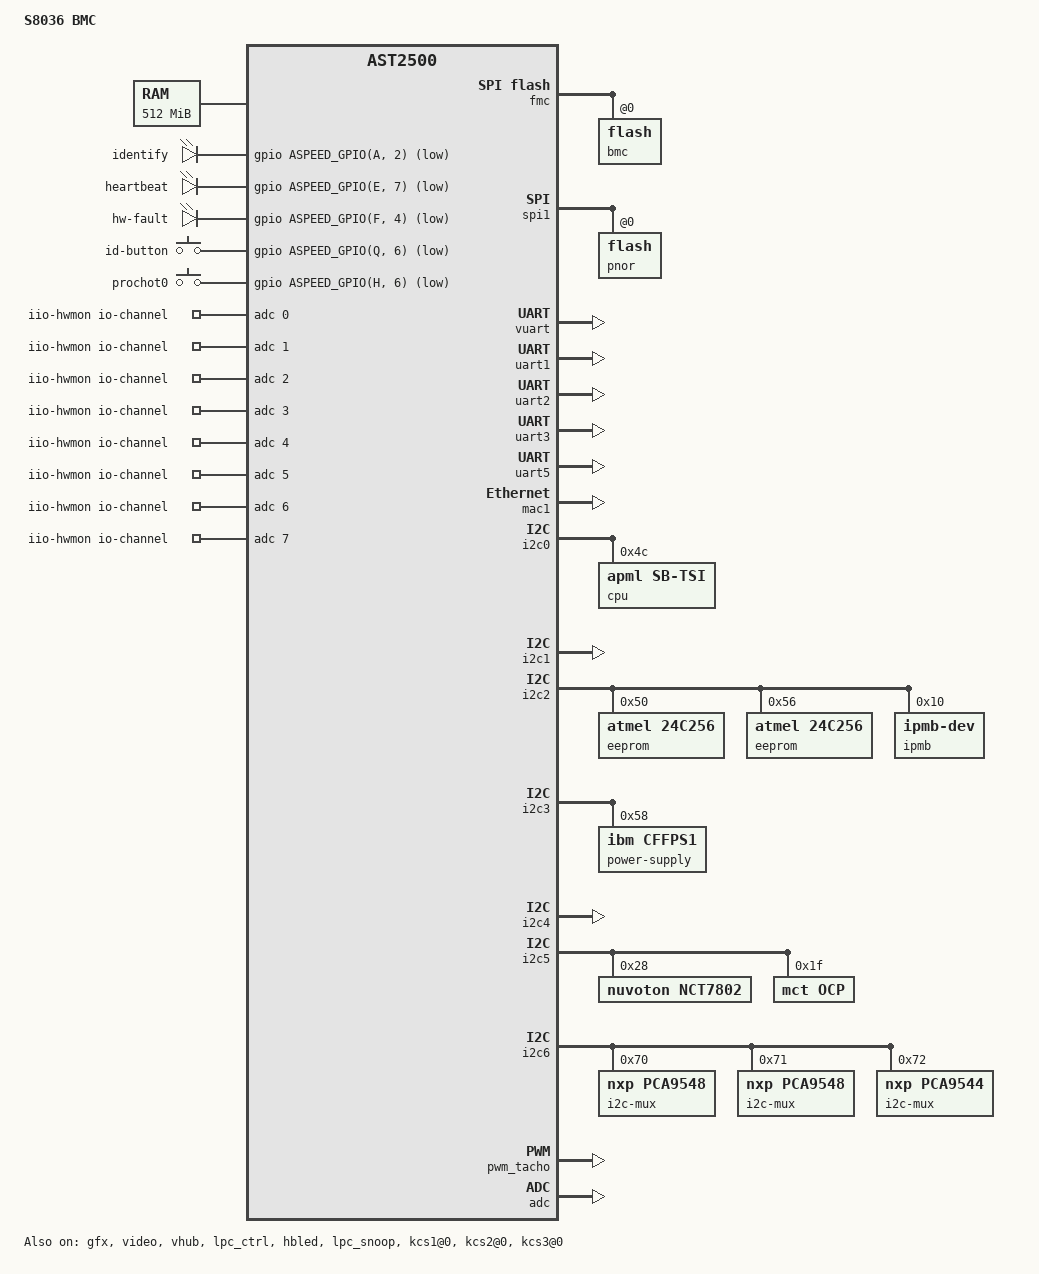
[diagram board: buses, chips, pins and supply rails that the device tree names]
// SPDX-License-Identifier: GPL-2.0
// Copyright (c) 2017 Intel Corporation
/dts-v1/;

#include "aspeed-g5.dtsi"
#include <dt-bindings/gpio/aspeed-gpio.h>

/ {
    model = "S8036 BMC";
    compatible = "mct,s8036-bmc", "aspeed,ast2500";

    chosen {
        stdout-path = &uart5;
        bootargs = "earlyprintk";
    };

    memory {
        reg = <0x80000000 0x20000000>;
    };

    reserved-memory {
        #address-cells = <1>;
        #size-cells = <1>;
        ranges;

        flash_memory: region@5c000000 {
            no-map;
            reg = <0x5c000000 0x02000000>; /* 32M */
        };

        gfx_memory: framebuffer {
                size = <0x04000000>;
                alignment = <0x01000000>;
                compatible = "shared-dma-pool";
                reusable;
        };
    };

    leds {
            compatible = "gpio-leds";

            identify {
                gpios = <&gpio ASPEED_GPIO(A, 2) GPIO_ACTIVE_LOW>;
            };

            heartbeat {
                gpios = <&gpio ASPEED_GPIO(E, 7) GPIO_ACTIVE_LOW>;
            };

            hw-fault {
                gpios = <&gpio ASPEED_GPIO(F, 4) GPIO_ACTIVE_LOW>;
            };
        };
      gpio-keys {
                   compatible = "gpio-keys";
                            id-button {
                                  label = "id-button";
                                  gpios = <&gpio ASPEED_GPIO(Q, 6) GPIO_ACTIVE_LOW>;
                                  linux,code = <ASPEED_GPIO(Q, 6)>;
                            };
                            prochot0 {
                                  label = "prochot0";
                                  gpios = <&gpio ASPEED_GPIO(H, 6) GPIO_ACTIVE_LOW>;
                                  linux,code = <ASPEED_GPIO(H, 6)>;
                            };
        };

    iio-hwmon {
        compatible = "iio-hwmon";
        io-channels = <&adc 0>, <&adc 1>, <&adc 2>, <&adc 3>,
            <&adc 4>, <&adc 5>, <&adc 6>, <&adc 7>,
            <&adc 8>, <&adc 9>, <&adc 10>, <&adc 11>,
            <&adc 12>, <&adc 13>, <&adc 14>, <&adc 15>;
    };
};

&fmc {
    status = "okay";
    flash@0 {
        status = "okay";
        m25p,fast-read;
        label = "bmc";
#include "openbmc-flash-layout.dtsi"
    };
};

&spi1 {
    status = "okay";
    pinctrl-names = "default";
    pinctrl-0 = <&pinctrl_spi1_default>;

    flash@0 {
        status = "okay";
        m25p,fast-read;
        label = "pnor";
    };
};

&vuart {
       status = "okay";
};

&uart1 {
    status = "okay";
   pinctrl-names = "default";
   pinctrl-0 = <&pinctrl_txd1_default
            &pinctrl_rxd1_default
            &pinctrl_ncts1_default
            &pinctrl_ndcd1_default
            &pinctrl_ndsr1_default
            &pinctrl_nri1_default
            &pinctrl_ndtr1_default
            &pinctrl_nrts1_default>;
};

&uart2 {
    status = "okay";
    pinctrl-names = "default";
    pinctrl-0 = <&pinctrl_txd2_default
            &pinctrl_rxd2_default
            &pinctrl_ncts2_default
            &pinctrl_ndcd2_default
            &pinctrl_ndsr2_default
            &pinctrl_nri2_default
            &pinctrl_ndtr2_default
            &pinctrl_nrts2_default>;
};

&uart3 {
    status = "okay";
};

&uart5 {
    status = "okay";
};
/*
&mac0 {
    status = "okay";

    pinctrl-names = "default";
    pinctrl-0 = <&pinctrl_rmii1_default>;
    use-ncsi;
};
*/
&mac1 {
    status = "okay";

    pinctrl-names = "default";
    pinctrl-0 = <&pinctrl_rgmii2_default>;
};

&i2c0 {
    status = "okay";

    cpu@4c {
        compatible = "apml,sb-tsi";
        reg = <0x4c>;
    };
};

&i2c1 {
    multi-master =<1>;
    status = "okay";
};

&i2c2 {
    status = "okay";
    /* FRU 24C256 @50h */
    eeprom@50 {
        compatible = "atmel,24c256";
        reg = <0x50>;
        pagesize = <32>;
    };
    eeprom@56 {
        compatible = "atmel,24c256";
        reg = <0x56>;
        pagesize = <32>;
    };
    ipmb@10 {
        compatible = "ipmb-dev";
        reg = <0x10>;
        i2c-protocol;
    };
};

&i2c3 {
    status = "okay";
    power-supply@58 {
        compatible = "ibm,cffps1";
        reg = <0x58>;
    };
};

&i2c4 {
    status = "okay";
};

&i2c5 {
    status = "okay";
    /* NCT7802 Hardware Monitor @50h*/
    nct7802@28 {
        compatible = "nuvoton,nct7802";
        reg = <0x28>;
    };
    ocp@1f {
        compatible = "mct,ocp";
        reg = <0x1f>;
    };
};

&i2c6 {
    status = "okay";
    i2c-mux@70 {
        compatible = "nxp,pca9548";
        #address-cells = <1>;
        #size-cells = <0>;
        reg = <0x70>;
        i2c-mux-idle-disconnect;
        i2c@0 {
            #address-cells = <1>;
            #size-cells = <0>;
            reg = <0>;
        };

        i2c@1 {
            #address-cells = <1>;
            #size-cells = <0>;
            reg = <1>;
        };

        i2c@2 {
            #address-cells = <1>;
            #size-cells = <0>;
            reg = <2>;
        };

        i2c@3 {
            #address-cells = <1>;
            #size-cells = <0>;
            reg = <3>;
        };

        i2c@4 {
            #address-cells = <1>;
            #size-cells = <0>;
            reg = <4>;
        };

        i2c@5 {
            #address-cells = <1>;
            #size-cells = <0>;
            reg = <5>;
        };

        i2c@6 {
            #address-cells = <1>;
            #size-cells = <0>;
            reg = <6>;
        };

        i2c@7 {
            #address-cells = <1>;
            #size-cells = <0>;
            reg = <7>;
        };
    };

    i2c-mux@71 {
        compatible = "nxp,pca9548";
        #address-cells = <1>;
        #size-cells = <0>;
        reg = <0x71>;
        i2c-mux-idle-disconnect;
        i2c@0 {
            #address-cells = <1>;
            #size-cells = <0>;
            reg = <0>;
        };

        i2c@1 {
            #address-cells = <1>;
            #size-cells = <0>;
            reg = <1>;
        };

        i2c@2 {
            #address-cells = <1>;
            #size-cells = <0>;
            reg = <2>;
        };

        i2c@3 {
            #address-cells = <1>;
            #size-cells = <0>;
            reg = <3>;
        };

        i2c@4 {
            #address-cells = <1>;
            #size-cells = <0>;
            reg = <4>;
        };

        i2c@5 {
            #address-cells = <1>;
            #size-cells = <0>;
            reg = <5>;
        };

        i2c@6 {
            #address-cells = <1>;
            #size-cells = <0>;
            reg = <6>;
        };

        i2c@7 {
            #address-cells = <1>;
            #size-cells = <0>;
            reg = <7>;
        };
    };

    i2c-mux@72 {
        compatible = "nxp,pca9544";
        #address-cells = <1>;
        #size-cells = <0>;
        reg = <0x72>;
        i2c-mux-idle-disconnect;

        i2c@0 {
            #address-cells = <1>;
            #size-cells = <0>;
            reg = <0>;
        };

        i2c@1 {
            #address-cells = <1>;
            #size-cells = <0>;
            reg = <1>;
        };

        i2c@2 {
            #address-cells = <1>;
            #size-cells = <0>;
            reg = <2>;
        };

        i2c@3 {
            #address-cells = <1>;
            #size-cells = <0>;
            reg = <3>;
        };
    };
};

&gfx {
       status = "okay";
       memory-region = <&gfx_memory>;
};

&video {
       status = "okay";
       memory-region = <&gfx_memory>;
};

&vhub {
       status = "okay";
};

&pwm_tacho {
    status = "okay";
    pinctrl-names = "default";
    pinctrl-0 = <&pinctrl_pwm0_default &pinctrl_pwm1_default &pinctrl_pwm2_default &pinctrl_pwm3_default &pinctrl_pwm4_default &pinctrl_pwm5_default>;
    sysfan1@0 {
        reg = <0x05>;
        aspeed,fan-tach-ch = /bits/ 8 <0x08>;
    };

    sysfan2@1 {
        reg = <0x03>;
        aspeed,fan-tach-ch = /bits/ 8 <0x09>;
    };

    cpufan@2 {
        reg = <0x03>;
        aspeed,fan-tach-ch = /bits/ 8 <0x0a>;
    };

    sysfan3@3 {
        reg = <0x03>;
        aspeed,fan-tach-ch = /bits/ 8 <0x0b>;
    };

    sysfan4@4 {
        reg = <0x04>;
        aspeed,fan-tach-ch = /bits/ 8 <0x0c>;
    };
};

&lpc_ctrl {
    status = "okay";
    memory-region = <&flash_memory>;
    flash = <&spi1>;
};

&adc {
    status = "okay";
};

&lpc_bmc {
    compatible = "aspeed,ast2500-lpc-bmc", "simple-mfd", "syscon";
    reg = <0x0 0x80>;
    reg-io-width = <4>;
    #address-cells = <1>;
    #size-cells = <1>;
    ranges = <0x0 0x0 0x80>;

    kcs1@0 {
        compatible = "aspeed,ast2500-kcs-bmc";
        reg = <0x0 0x80>;
        interrupts = <8>;
        kcs_chan = <1>;
        kcs_addr = <0xca0>;
        status = "okay";
    };

    kcs2@0 {
        compatible = "aspeed,ast2500-kcs-bmc";
        reg = <0x0 0x80>;
        interrupts = <8>;
        kcs_chan = <2>;
        kcs_addr = <0xca8>;
        status = "okay";
    };

    kcs3@0 {
        compatible = "aspeed,ast2500-kcs-bmc";
        reg = <0x0 0x80>;
        interrupts = <8>;
        kcs_chan = <3>;
        kcs_addr = <0xca2>;
        status = "okay";
    };
};

&hbled {
    status = "okay";
};

&gpio {
    status = "okay";
    gpio-line-names =
    /*A0-A7*/   "","","ID_LED","AC_LOSS","","","","",
    /*B0-B7*/   "","","","","","","LPC_PME_L","",
    /*C0-C7*/   "","","","","","","","",
    /*D0-D7*/   "SLP_S3","SLP_S5","PS_PWROK","RESET_LED","","","","",
    /*E0-E7*/   "PWBTN_IN","PWBTN_OUT","RSTBTN_IN","RSTBTN_OUT","NMIBTN_IN","NMIBTN_OUT","TSI_RESERT","",
    /*F0-F7*/   "","CLR_CMOS","LOCAL_LOCK","ASSERT_PME","HWM_FAULT_LED","SYS_FAULT_LED","BIOS_WP","",
    /*G0-G7*/   "JTAG_MUX","JTAG_MUX_OE","HDT_SEL","JTAG_OE","","","JTAG_HDR","",
    /*H0-H7*/   "","","","","","","PROCHOT0","THERMTRIP",
    /*I0-I7*/   "","","","","","","","",
    /*J0-J7*/   "P0_ABCD_EVENT","P0_EFGH_EVENT","","","","","","",
    /*K0-K7*/   "","","","","","","","",
    /*L0-L7*/   "","","","","","","","",
    /*M0-M7*/   "","","","","","","","",
    /*N0-N7*/   "","","","","","","","BEEP",
    /*O0-O7*/   "","","","","","","","",
    /*P0-P7*/   "","","","","","","","",
    /*Q0-Q7*/   "","","","","APML_SEL","","id-button","",
    /*R0-R7*/   "","","","BAT_PRESENT","","","","",
    /*S0-S7*/   "","","","","","","","",
    /*T0-T7*/   "","","","","","","","",
    /*U0-U7*/   "","","","","","","","",
    /*V0-V7*/   "","","","","","","","",
    /*W0-W7*/   "","","","","","","","",
    /*X0-X7*/   "","","","","","","","",
    /*Y0-Y7*/   "","","","","","","","",
    /*Z0-Z7*/   "SENSOR_THERM","","","PWROK_LED","","","","",
    /*AA0-AA7*/ "","","","","","ASSERT_P0_PROCHOT","","ASSERT_BMC_READY",
    /*AB0-AB3*/ "SPD_SEL","BIOS_WDT_RST2","BMC_WDT_RST1","BMC_WDT_RST2",
    /*AC0-AC7*/ "","","","","","","","";
};

&lpc_snoop {
    status = "okay";
    snoop-ports = <0x80>;
};

